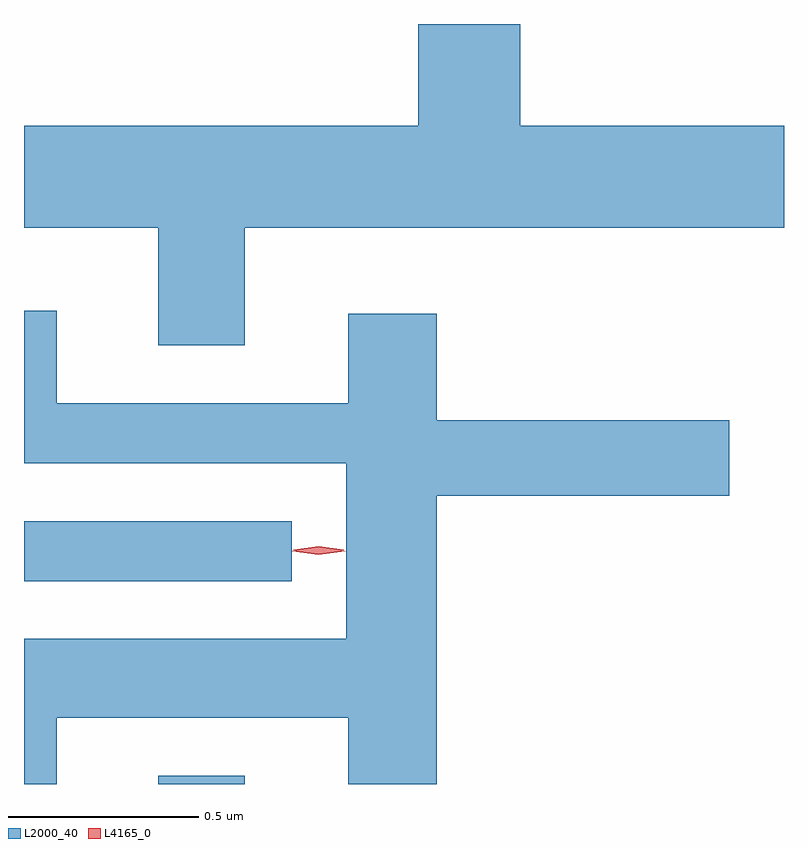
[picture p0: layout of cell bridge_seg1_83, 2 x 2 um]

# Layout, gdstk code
import gdstk
lib = gdstk.Library(unit=1e-6, precision=1e-09)
def R(c, l, rs):  # rectangles x0, y0, x1, y1
    for r in rs: c.add(gdstk.rectangle(r[:2], r[2:], *l))
def P(c, l, *ps):  # polygons
    for p in ps: c.add(gdstk.Polygon(p, *l))
L2000_40 = (2000, 40)
L4165_0 = (4165, 0)

bridge_seg1_83 = lib.new_cell('bridge_seg1_83')
R(bridge_seg1_83, L2000_40, [(1213.391,889.232,1213.619,889.254), (1213.038,889.766,1213.743,889.924)])
P(bridge_seg1_83, L2000_40, [(1213.619,890.696),(1215.038,890.696),(1215.038,890.964),(1214.344,890.964),(1214.344,891.232),(1214.076,891.232),(1214.076,890.964),(1213.038,890.964),(1213.038,890.696),(1213.391,890.696),(1213.391,890.386),(1213.619,890.386)],
  [(1213.124,889.406),(1213.891,889.406),(1213.891,889.232),(1214.124,889.232),(1214.124,889.991),(1214.894,889.991),(1214.894,890.189),(1214.124,890.189),(1214.124,890.469),(1213.891,890.469),(1213.891,890.234),(1213.124,890.234),(1213.124,890.478),(1213.038,890.478),(1213.038,890.076),(1213.886,890.076),(1213.886,889.614),(1213.038,889.614),(1213.038,889.232),(1213.124,889.232)])
P(bridge_seg1_83, L4165_0, [(1213.813,889.835),(1213.744,889.844),(1213.744,889.845),(1213.744,889.845),(1213.813,889.855),(1213.882,889.845),(1213.883,889.845),(1213.882,889.844)],
  [(1213.813,889.838),(1213.748,889.847),(1213.747,889.847),(1213.748,889.848),(1213.813,889.858),(1213.879,889.848),(1213.879,889.848),(1213.879,889.847)])

lib.write_gds('bridge_seg1_83.gds')
